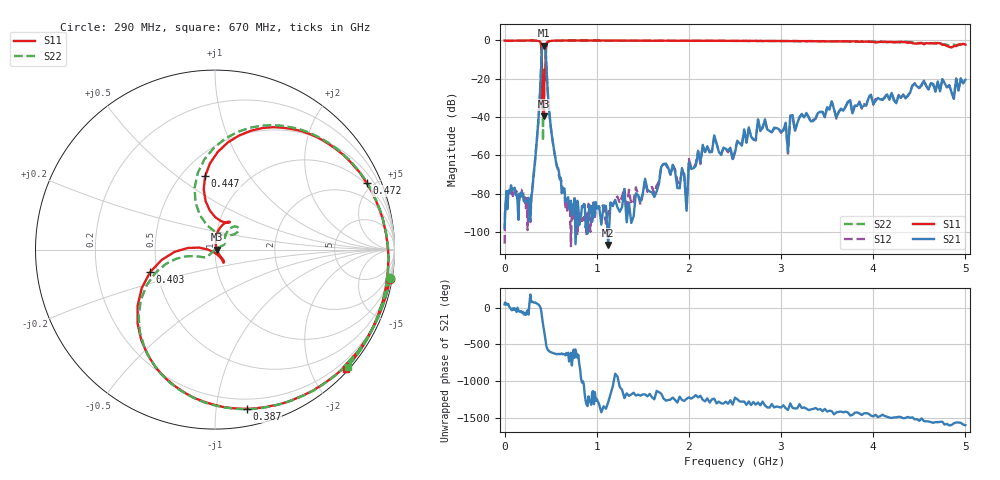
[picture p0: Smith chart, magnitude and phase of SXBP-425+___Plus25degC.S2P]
! Mini-Circuits
! S2P DATA File Format
! Type: BAND PASS FILTER
! Model: SXBP-425+
! All S Parameters are in dB deg format
! TEST CONDITIONS: INPUT POWER = 0 dBm @ Temperature = + 25 deg C
! 401 Frequency points
# MHz S DB R 50
!FREQMAG(S11)PHS(S11)MAG(S12)PHS(S12)MAG(S21)PHS(S21)MAG(S22)PHS(S22)
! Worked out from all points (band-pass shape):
!   401 points, 500 kHz to 5 GHz, reference 50 ohm
!   highest |S21| = -2.83 dB at 423 MHz (marker M1); lowest = -106.8 dB at 1.125 GHz (marker M2)
!   |S21| within 3 dB of the highest: 403.8 MHz to 446.4 MHz (42.62 MHz wide, 10 % of centre)
!   lowest |S11| = -39.6 dB at 427 MHz (marker M3), VSWR 1.02, Z = 51.1 - j0.00837 ohm
!   |S11| at or under -10 dB: 403.8 MHz to 445.6 MHz (41.83 MHz wide, 9.85 % of centre)
!   |S22| runs from -52.4 to -0.1 dB; largest |S21 - S12| = 0.0057
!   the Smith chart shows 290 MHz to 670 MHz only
!   S11 on the Smith chart (normalised r, x): 290 MHz: 1, -12; 387 MHz: 0.12, -1.21; 403 MHz: 0.46, -0.14; 447 MHz: 0.65, +0.64; 472 MHz: 0.92, +4.58; 670 MHz: 0.06, -2.59
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0.5  -0.17 179.2  -97.93 45.5  -106.12 -127.5  -0.16 179.2
80  -0.27 84.3  -78.30 -35.3  -76.93 -8.7  -0.28 85.0
290  -0.11 -9.5  -81.30 76.5  -83.63 106.6  -0.10 -9.1
360  -0.26 -42.7  -46.46 49.6  -46.24 50.0  -0.25 -42.4
387  -0.87 -78.7  -24.75 7.8  -24.71 7.9  -0.83 -78.2
403  -8.32 -160.7  -6.41 -91.3  -6.38 -91.6  -7.37 -152.6
409  -35.27 -96.8  -3.64 -155.4  -3.63 -155.7  -20.01 -157.4
417  -21.43 -55.2  -2.95 135.2  -2.95 134.9  -52.41 -145.0
423  -24.55 -51.2  -2.83 89.2  -2.84 88.9  -25.12 27.6
427  -39.63 -0.5  -2.86 59.5  -2.86 59.3  -22.71 43.1
436  -15.54 66.6  -3.28 -8.4  -3.28 -8.6  -15.04 45.7
447  -7.71 97.7  -6.26 -109.9  -6.29 -110.3  -8.82 108.3
472  -0.70 23.7  -29.37 143.6  -29.38 143.7  -0.72 26.0
550  -0.19 -18.0  -60.69 96.8  -60.95 95.2  -0.19 -16.9
670  -0.13 -42.3  -83.16 104.7  -82.80 62.8  -0.12 -41.3
840  -0.13 -66.5  -86.45 61.0  -94.18 -84.4  -0.12 -65.6
1125  -0.16 -101.0  -106.78 157.0  -89.93 -43.0  -0.14 -99.8
1675  -0.22 -161.2  -74.84 -68.2  -73.71 -71.0  -0.21 -159.3
2525  -0.32 111.3  -52.70 -164.5  -52.35 -165.4  -0.34 113.9
3350  -0.48 28.6  -42.08 63.4  -41.42 66.2  -0.47 30.3
4175  -0.83 -57.1  -30.95 -53.7  -30.88 -51.3  -0.96 -56.9
5000  -2.26 -144.7  -20.60 -157.9  -21.11 -156.7  -1.97 -138.2
